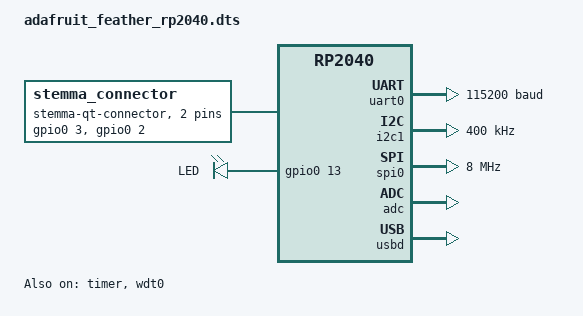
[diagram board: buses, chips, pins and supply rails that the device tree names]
/*
 * Copyright (c) 2021 Yonatan Schachter
 * Copyright (c) 2022 Peter Johanson
 *
 * SPDX-License-Identifier: Apache-2.0
 */

/dts-v1/;

#include <raspberrypi/rpi_pico/rp2040.dtsi>
#include "adafruit_feather_rp2040-pinctrl.dtsi"
#include "feather_connector.dtsi"
#include <freq.h>
#include <zephyr/dt-bindings/led/led.h>

/ {
	chosen {
		zephyr,sram = &sram0;
		zephyr,flash = &flash0;
		zephyr,flash-controller = &ssi;
		zephyr,console = &uart0;
		zephyr,shell-uart = &uart0;
		zephyr,code-partition = &code_partition;
	};

	aliases {
		watchdog0 = &wdt0;
		led0 = &led0;
		led-strip = &ws2812;
	};

	stemma_connector: stemma_connector {
		compatible = "stemma-qt-connector";
		#gpio-cells = <2>;
		gpio-map-mask = <0xffffffff 0xffffffc0>;
		gpio-map-pass-thru = <0 0x3f>;
		gpio-map = <0 0 &gpio0 3 0>,
			   <1 0 &gpio0 2 0>;
	};

	leds {
		compatible = "gpio-leds";

		led0: led_0 {
			gpios = <&gpio0 13 GPIO_ACTIVE_HIGH>;
			label = "LED";
		};
	};
};

&flash0 {
	reg = <0x10000000 DT_SIZE_M(8)>;

	partitions {
		compatible = "fixed-partitions";
		#address-cells = <1>;
		#size-cells = <1>;

		/* Reserved memory for the second stage bootloader */
		second_stage_bootloader: partition@0 {
			label = "second_stage_bootloader";
			reg = <0x00000000 0x100>;
			read-only;
		};

		/*
		 * Usable flash. Starts at 0x100, after the bootloader. The partition
		 * size is 8MB minus the 0x100 bytes taken by the bootloader.
		 */
		code_partition: partition@100 {
			label = "code-partition";
			reg = <0x100 (DT_SIZE_M(8) - 0x100)>;
			read-only;
		};
	};
};

&uart0 {
	current-speed = <115200>;
	status = "okay";
	pinctrl-0 = <&uart0_default>;
	pinctrl-names = "default";
};

&gpio0 {
	status = "okay";
};

zephyr_i2c: &i2c1 {
	status = "okay";
	pinctrl-0 = <&i2c1_default>;
	pinctrl-names = "default";
	clock-frequency = <I2C_BITRATE_FAST>;
};

&spi0 {
	clock-frequency = <DT_FREQ_M(8)>;
	status = "okay";
	pinctrl-0 = <&spi0_default>;
	pinctrl-names = "default";
};

&timer {
	status = "okay";
};

&wdt0 {
	status = "okay";
};

&adc {
	status = "okay";
	pinctrl-0 = <&adc_default>;
	pinctrl-names = "default";
};

&pio0 {
	status = "okay";
};

&pio1 {
	status = "okay";

	/*
	 * Need to put this on PIO1 as having this on PIO0 causes the GPIO hog to
	 * not work.
	 */
	pio-ws2812 {
		compatible = "worldsemi,ws2812-rpi_pico-pio";
		status = "okay";
		pinctrl-0 = <&ws2812_pio1_default>;
		pinctrl-names = "default";
		bit-waveform = <3>, <3>, <4>;

		ws2812: ws2812 {
			status = "okay";
			gpios = <&gpio0 12 GPIO_ACTIVE_HIGH>;
			chain-length = <1>;
			color-mapping = <LED_COLOR_ID_GREEN
					 LED_COLOR_ID_RED
					 LED_COLOR_ID_BLUE>;
			reset-delay = <280>;
			frequency = <800000>;
		};
	};
};

zephyr_udc0: &usbd {
	status = "okay";
};

&vreg {
	regulator-always-on;
	regulator-allowed-modes = <REGULATOR_RPI_PICO_MODE_NORMAL>;
};

&xosc {
	startup-delay-multiplier = <64>;
};
